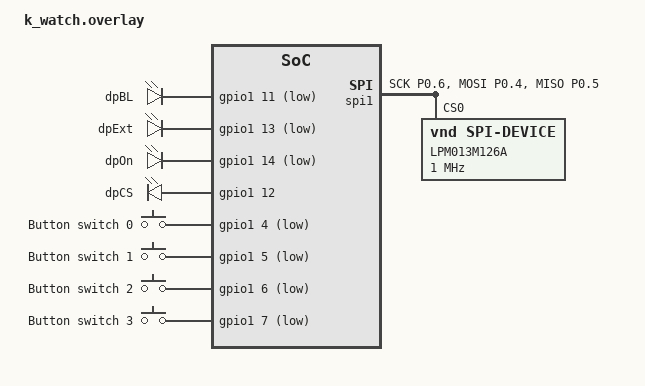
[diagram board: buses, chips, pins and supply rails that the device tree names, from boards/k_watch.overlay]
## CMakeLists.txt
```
cmake_minimum_required(VERSION 3.20.0)
find_package(Zephyr REQUIRED HINTS $ENV{ZEPHYR_BASE})

set(DTC_OVERLAY_FILE "app.overlay")

project(Firmware)

target_sources(app PRIVATE 
    src/ui/watchface/face_main/face_main.c
    src/ui/watchface/face_information/face_information.c
    src/ui/watchface/face_digital.c
    src/ui/watchface/face_manager.c
    src/ui/driver/KW_GFX.c
    src/ui/driver/KW_GFX_font.c
    src/ui/driver/LPM013M126A.c

    src/drivers/rtc/rv8263.c

    src/ble/ble_peripheral.c
    src/ble/ble_information.c
    src/ble/ble_ancs.c
    src/main.c
)
```

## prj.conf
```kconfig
CONFIG_PRINTK=y
CONFIG_LOG=y
CONFIG_LOG_PRINTK=y 
CONFIG_USE_SEGGER_RTT=y
CONFIG_RTT_CONSOLE=y
CONFIG_CONSOLE=y
CONFIG_UART_CONSOLE=n

# I2C Configuration
CONFIG_I2C=y

CONFIG_CBPRINTF_COMPLETE=y
CONFIG_CBPRINTF_FP_SUPPORT=y

CONFIG_CLOCK_CONTROL_NRF_K32SRC_RC=y
CONFIG_CLOCK_CONTROL_NRF_K32SRC_500PPM=y

CONFIG_GPIO=y
CONFIG_SPI=y
CONFIG_PWM=y

# Bluetooth
CONFIG_BT=y
CONFIG_BT_SMP=y
CONFIG_BT_SETTINGS=y
CONFIG_BT_BONDABLE=y 
CONFIG_BT_KEYS_OVERWRITE_OLDEST=y
CONFIG_BT_PERIPHERAL=y
CONFIG_BT_DEVICE_NAME_MAX=15
CONFIG_BT_DEVICE_NAME_DYNAMIC=y
CONFIG_BT_MAX_CONN=1
CONFIG_BT_MAX_PAIRED=1
CONFIG_BT_GATT_CLIENT=y
CONFIG_BT_GATT_AUTO_UPDATE_MTU=y
CONFIG_BT_GATT_CACHING=y
CONFIG_BT_GATT_NOTIFY_MULTIPLE=y

CONFIG_BT_BROADCASTER=y
CONFIG_BT_SMP_ALLOW_UNAUTH_OVERWRITE=y

CONFIG_BT_L2CAP_TX_MTU=498
CONFIG_BT_BUF_ACL_RX_SIZE=502
CONFIG_BT_BUF_ACL_TX_SIZE=251
CONFIG_BT_L2CAP_TX_MTU=247

CONFIG_BT_BUF_ACL_RX_COUNT_EXTRA=50
CONFIG_BT_BUF_EVT_RX_COUNT=20
CONFIG_BT_L2CAP_TX_BUF_COUNT=10

CONFIG_BT_DATA_LEN_UPDATE=y
CONFIG_BT_AUTO_PHY_UPDATE=y
CONFIG_BT_USER_PHY_UPDATE=y
CONFIG_BT_USER_DATA_LEN_UPDATE=y
CONFIG_BT_AUTO_DATA_LEN_UPDATE=y

# iOS ble GATT server
CONFIG_BT_GATTP=y
CONFIG_BT_GATT_DM=y
CONFIG_BT_ANCS_CLIENT=y

# NVS
CONFIG_FLASH=y
CONFIG_FLASH_INIT_PRIORITY=40
CONFIG_FLASH_MAP=y
CONFIG_MPU_ALLOW_FLASH_WRITE=y
CONFIG_FLASH_PAGE_LAYOUT=y
CONFIG_STREAM_FLASH=y
CONFIG_FLASH_MAP_LABELS=y

CONFIG_SETTINGS=y
CONFIG_NVS=y
```

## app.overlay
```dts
&lpm013m126a {
    compatible = "jdi,lpm013m126a";
};

&uart0 {
    status = "disabled";
};
```

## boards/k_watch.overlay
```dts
/ {
    outputControl {
        compatible = "gpio-leds";
        dpBL: dpBL {
            label = "dpBL";
            gpios = <&gpio1 11 GPIO_ACTIVE_LOW>;
        };

        dpExt: dpExt {
            label = "dpExt";
            gpios = <&gpio1 13 GPIO_ACTIVE_LOW>;
        };

        dpOn: dpOn {
            label = "dpOn";
            gpios = <&gpio1 14 GPIO_ACTIVE_LOW>;
        };

        dpCS: dpCS {
            label = "dpCS";
            gpios = <&gpio1 12 GPIO_ACTIVE_HIGH>;
        };
    };

    inputControl {
        compatible = "gpio-keys";
		sw0: sw0 {
			gpios = <&gpio1 4 (GPIO_PULL_UP | GPIO_ACTIVE_LOW)>;
			label = "Button switch 0";
		};
		sw1: sw1 {
			gpios = <&gpio1 5 (GPIO_PULL_UP | GPIO_ACTIVE_LOW)>;
			label = "Button switch 1";
		};
		sw2: sw2 {
			gpios = <&gpio1 6 (GPIO_PULL_UP | GPIO_ACTIVE_LOW)>;
			label = "Button switch 2";
		};
		sw3: sw3 {
			gpios = <&gpio1 7 (GPIO_PULL_UP | GPIO_ACTIVE_LOW)>;
			label = "Button switch 3";
		};
    };

    aliases {
        dpbl = &dpBL;
        dpext = &dpExt;
        dpon = &dpOn;
        dpcs = &dpCS;  
        sw0 = &sw0;
        sw1 = &sw1;
        sw2 = &sw2;
        sw3 = &sw3;
    };
};

&gpio0 {
    status = "okay";
};

&gpio1 {
    status = "okay";
};

&uart0 {
    status = "disabled";
};

&spi1 {
    compatible = "nordic,nrf-spim";
	status = "okay";
	pinctrl-0 = <&spi1_default>;
	pinctrl-1 = <&spi1_sleep>;
	pinctrl-names = "default", "sleep";
    /delete-property/ cs-gpios;          /* bỏ CS tự động */
    // cs-gpios = <&gpio1 12 GPIO_ACTIVE_HIGH>;
    lpm013m126a: lpm013m126a@0 {
        compatible = "vnd,spi-device";
        reg = <0>;
        label = "LPM013M126A";
        spi-max-frequency = <1000000>;
    };
};

&pinctrl {
	spi1_default: spi1_default {
		group1 {
			psels = <NRF_PSEL(SPIM_SCK, 0, 6)>,
				<NRF_PSEL(SPIM_MOSI, 0, 4)>,
				<NRF_PSEL(SPIM_MISO, 0, 5)>;
		};
	};

	spi1_sleep: spi1_sleep {
		group1 {
			psels = <NRF_PSEL(SPIM_SCK, 0, 6)>,
				<NRF_PSEL(SPIM_MOSI, 0, 4)>,
				<NRF_PSEL(SPIM_MISO, 0, 5)>;
			low-power-enable;
		};
	};
};
```

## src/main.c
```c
#include <zephyr/kernel.h>
#include <zephyr/logging/log.h>
#include <zephyr/drivers/i2c.h>
#include "drivers/rtc/rv8263.h"
#include "ui/watchface/face_manager.h"

LOG_MODULE_REGISTER(main);

static const struct device *i2c_dev;

int rtc_init(void)
{
    i2c_dev = DEVICE_DT_GET(DT_NODELABEL(i2c0));
    
    if (!device_is_ready(i2c_dev)) {
        LOG_ERR("I2C device not ready");
        return -ENODEV;
    }

    int ret = rv8263_init(i2c_dev);
    if (ret < 0) {
        LOG_ERR("Failed to initialize RTC: %d", ret);
        return ret;
    }

    LOG_INF("RTC initialized");
    return 0;
}

int rtc_read_time(struct rv8263_time *time)
{
    if (!time) {
        return -EINVAL;
    }

    int ret = rv8263_get_time(i2c_dev, time);
    if (ret < 0) {
        LOG_ERR("Failed to read RTC time: %d", ret);
        return ret;
    }

    LOG_INF("RTC Time: %02d:%02d:%02d %02d/%02d/%02d (weekday: %d)",
            time->hours, time->minutes, time->seconds,
            time->day, time->month, time->year, time->weekday);

    return 0;
}

int rtc_set_time(const struct rv8263_time *time)
{
    if (!time) {
        return -EINVAL;
    }

    int ret = rv8263_set_time(i2c_dev, time);
    if (ret < 0) {
        LOG_ERR("Failed to set RTC time: %d", ret);
        return ret;
    }

    LOG_INF("RTC time set to: %02d:%02d:%02d %02d/%02d/%02d",
            time->hours, time->minutes, time->seconds,
            time->day, time->month, time->year);

    return 0;
}

int main(void)
{
    LOG_INF("K-Watch Firmware started");
    
    if (rtc_init() < 0) {
        LOG_ERR("RTC initialization failed");
    }

    face_manager_init();
    
    uint32_t counter = 0;
    while (1) {
        k_sleep(K_SECONDS(1));
        
        if (++counter >= 1) {
            counter = 0;
            struct rv8263_time time;
            if (rtc_read_time(&time) == 0) {
                /* Update digital watchface with current time and date */
                face_manager_show_digital_with_date(time.hours, time.minutes, time.seconds,
                                                     time.day, time.month, time.weekday);
            }
        }
    }
    return 0;
}
```
